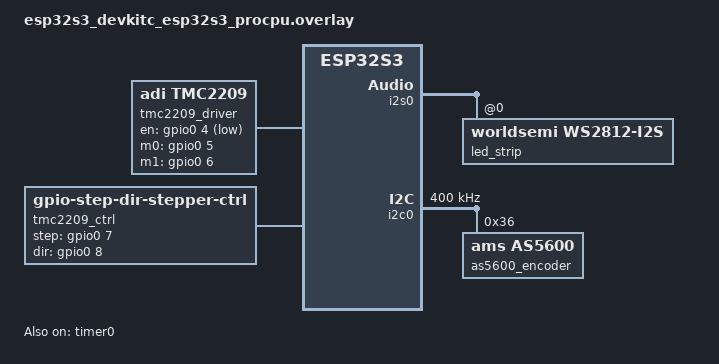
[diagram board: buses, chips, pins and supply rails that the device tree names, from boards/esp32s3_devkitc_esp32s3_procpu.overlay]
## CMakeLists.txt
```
cmake_minimum_required(VERSION 3.20.0)

include(${CMAKE_CURRENT_LIST_DIR}/../../../zenbedded_common/common.cmake)

find_package(Zephyr REQUIRED HINTS $ENV{ZEPHYR_BASE})

project(inverted_pendulum_tier2)
target_sources(app PRIVATE src/main.cpp)
target_compile_definitions(app PRIVATE _GNU_SOURCE _USE_MATH_DEFINES)
```

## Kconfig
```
menu "Inverted Pendulum Tier 2 Demo"

config ENCODER_SAMPLING_THREAD_PRIORITY
    int "Priority for the magnetic encoder's sampling thread"
    default 0

choice INVERTED_PENDULUM_COMM_INTERFACE
    prompt "Communication Transport Interface"
    default INVERTED_PENDULUM_COMM_USB_CDC
    help
      Select the physical transport used to connect the Tier 2
      microcontroller to the Zenoh network / Host PC.

    config INVERTED_PENDULUM_COMM_WIFI
        bool "Wi-Fi Interface"
        select WIFI
        select WIFI_NM
        select WIFI_CREDENTIALS
        select WIFI_CREDENTIALS_CONNECT_STORED
        select NET_L2_WIFI_SHELL
        select WIFI_CREDENTIALS_SHELL
        select NET_DHCPV4
        help
          Connect to the Zenoh network over 802.11 Wi-Fi station mode using
          stored credentials.

    config INVERTED_PENDULUM_COMM_USB_CDC
        bool "USB CDC (Ethernet) Interface"
        select USB_DEVICE_STACK_NEXT
        select NET_L2_ETHERNET
        select USBD_CDC_ECM_CLASS
        help
          Connect to the Zenoh network over USB CDC ECM (Ethernet emulation)
          for low-latency, jitter-free wired communication.

endchoice

config WIFI_ESP32
    default y if INVERTED_PENDULUM_COMM_WIFI && SOC_FAMILY_ESPRESSIF_ESP32

config ESP32_WIFI_STA_AUTO_DHCPV4
    default y if INVERTED_PENDULUM_COMM_WIFI && SOC_FAMILY_ESPRESSIF_ESP32

config ESP32_WIFI_STA_RECONNECT
    default y if INVERTED_PENDULUM_COMM_WIFI && SOC_FAMILY_ESPRESSIF_ESP32

if INVERTED_PENDULUM_COMM_USB_CDC

    config INVERTED_PENDULUM_USB_CDC_STATIC_IP
        bool "Configure static IPv4 address on USB CDC interface"
        default y
        select NET_CONFIG_SETTINGS
        help
          Configure a deterministic static IPv4 address for the USB CDC interface
          so a DHCP server is not required on the host PC.

    config INVERTED_PENDULUM_USB_CDC_MY_IPV4_ADDR
        string "Device USB CDC IPv4 address"
        depends on INVERTED_PENDULUM_USB_CDC_STATIC_IP
        default "192.0.2.2"
        help
          IPv4 address assigned to the ESP32-S3 USB CDC interface.

    config INVERTED_PENDULUM_USB_CDC_PEER_IPV4_ADDR
        string "Host PC USB CDC IPv4 address"
        depends on INVERTED_PENDULUM_USB_CDC_STATIC_IP
        default "192.0.2.1"
        help
          IPv4 address of the host machine on the USB CDC link.

    config INVERTED_PENDULUM_USB_CDC_NETMASK
        string "Device USB CDC IPv4 Netmask"
        depends on INVERTED_PENDULUM_USB_CDC_STATIC_IP
        default "255.255.255.0"
        help
          IPv4 netmask of the USB CDC interface.

    config NET_CONFIG_MY_IPV4_ADDR
        default INVERTED_PENDULUM_USB_CDC_MY_IPV4_ADDR if INVERTED_PENDULUM_USB_CDC_STATIC_IP

    config NET_CONFIG_PEER_IPV4_ADDR
        default INVERTED_PENDULUM_USB_CDC_PEER_IPV4_ADDR if INVERTED_PENDULUM_USB_CDC_STATIC_IP

    config NET_CONFIG_MY_IPV4_NETMASK
        default INVERTED_PENDULUM_USB_CDC_NETMASK if INVERTED_PENDULUM_USB_CDC_STATIC_IP

    config SAMPLE_USBD_PRODUCT
        default "Inverted Pendulum Tier2"

    config SAMPLE_USBD_MANUFACTURER
        default "Open Source Robotics Foundation"

    config INVERTED_PENDULUM_USB_CDC_DHCPV4_SERVER
        bool "Run DHCPv4 server on USB CDC interface"
        default y
        depends on INVERTED_PENDULUM_USB_CDC_STATIC_IP
        select NET_DHCPV4_SERVER
        select NET_UDP
        help
          Runs a lightweight DHCPv4 server leasing the peer IPv4 address to the
          connected host PC, enabling true zero-configuration plug-and-play.

    config NET_DHCPV4_SERVER_ADDR_COUNT
        default 1 if INVERTED_PENDULUM_USB_CDC_DHCPV4_SERVER

    config NET_DHCPV4_SERVER_ICMP_PROBE_TIMEOUT
        default 0 if INVERTED_PENDULUM_USB_CDC_DHCPV4_SERVER

    config NET_DHCPV4_SERVER_OPTION_ROUTER
        default n if INVERTED_PENDULUM_USB_CDC_DHCPV4_SERVER

endif # INVERTED_PENDULUM_COMM_USB_CDC

config ZENBEDDED_ZENOH_LOCATOR
    default "192.0.2.1:7447" if INVERTED_PENDULUM_COMM_USB_CDC
    default "127.0.0.1:7447" if INVERTED_PENDULUM_COMM_WIFI

endmenu

if USB_DEVICE_STACK_NEXT
source "samples/subsys/usb/common/Kconfig.sample_usbd"
endif

source "Kconfig.zephyr"
```

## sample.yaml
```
sample:
  name: Inverted Pendulum Tier2 Demo
common:
  build_only: true
  tags: zenbedded
tests:
  sample.zenbedded.inverted_pendulum_tier2.wifi:
    platform_allow:
      - esp32s3_devkitc/esp32s3/procpu
    extra_args: SNIPPET=wifi
  sample.zenbedded.inverted_pendulum_tier2.usb_cdc:
    platform_allow:
      - esp32s3_devkitc/esp32s3/procpu
    extra_args: SNIPPET=cdc-ecm
  sample.zenbedded.inverted_pendulum_tier2.dual:
    platform_allow:
      - esp32s3_devkitc/esp32s3/procpu
    extra_args: SNIPPET="cdc-ecm;wifi"
```

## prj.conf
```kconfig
CONFIG_CPP=y
CONFIG_STD_CPP17=y
CONFIG_REQUIRES_FULL_LIBC=y

CONFIG_ZENBEDDED_TIER_2=y
CONFIG_ZENBEDDED_RCL=y
CONFIG_ZENBEDDED_RCL_PUB_TOPIC="zenbedded/inverted_pendulum/state"
CONFIG_ZENBEDDED_RCL_SUB_TOPIC="zenbedded/inverted_pendulum/cmd"

CONFIG_ZENBEDDED_QOS_RELIABLE=y
CONFIG_NET_BUF_TX_COUNT=128
CONFIG_LOG=y

CONFIG_STEPPER=y
CONFIG_GPIO=y
CONFIG_I2C=y
CONFIG_SENSOR=y
CONFIG_COUNTER=y
CONFIG_LED_STRIP=y

CONFIG_SHELL=y
CONFIG_CBPRINTF_FP_SUPPORT=y

CONFIG_ENCODER_SAMPLING_THREAD_PRIORITY=0
CONFIG_MAIN_THREAD_PRIORITY=1
CONFIG_ZENBEDDED_RCL_THREAD_PRIORITY=2

# easily toggle between USB CDC and Wi-Fi
CONFIG_INVERTED_PENDULUM_COMM_USB_CDC=y
# CONFIG_INVERTED_PENDULUM_COMM_WIFI=y
# CONFIG_ZENBEDDED_ZENOH_LOCATOR="127.0.0.1:7447"

# Disable noisy USB subsystem logging
CONFIG_UDC_DRIVER_LOG_LEVEL_OFF=y
CONFIG_USBD_LOG_LEVEL_OFF=y
CONFIG_USBD_CDC_ECM_LOG_LEVEL_OFF=y
```

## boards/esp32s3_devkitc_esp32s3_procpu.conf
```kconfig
CONFIG_SETTINGS=y
CONFIG_NVS=y
CONFIG_FLASH=y
CONFIG_FLASH_MAP=y
CONFIG_HEAP_MEM_POOL_SIZE=65536
CONFIG_NET_BUF_RX_COUNT=32
CONFIG_NET_BUF_TX_COUNT=32
CONFIG_NET_BUF_DATA_SIZE=512
CONFIG_NET_PKT_RX_COUNT=64
CONFIG_NET_PKT_TX_COUNT=64
CONFIG_NET_RX_STACK_SIZE=4096
CONFIG_NET_TX_STACK_SIZE=4096
CONFIG_ESP32_WIFI_STA_RECONNECT=y
CONFIG_ESP32_WIFI_STA_SCAN_ALL=y
CONFIG_NET_SHELL=y
CONFIG_WIFI_LOG_LEVEL_DBG=y
```

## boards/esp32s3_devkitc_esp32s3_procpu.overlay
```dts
#include <zephyr/dt-bindings/gpio/gpio.h>
#include <zephyr/dt-bindings/led/led.h>

/ {
	aliases {
		stepper-driver = &tmc2209_driver;
		stepper-ctrl = &tmc2209_ctrl;
		encoder-driver = &as5600_encoder;
		led-strip = &led_strip;
	};

	// a4988_driver: a4988-stepper-driver {
	// 	compatible = "adi,tmc2209";
	// 	en-gpios = <&gpio0 13 GPIO_ACTIVE_LOW>;
	// 	micro-step-res = <16>;
	// };

	// a4988_ctrl: a4988-stepper-controller {
	// 	compatible = "zephyr,gpio-step-dir-stepper-ctrl";
	// 	step-gpios = <&gpio0 3 GPIO_ACTIVE_HIGH>;
	// 	dir-gpios = <&gpio0 8 GPIO_ACTIVE_HIGH>;
	// 	invert-direction;
	// 	stepper-driver = <&a4988_driver>;
	// 	counter = <&counter0>;
	// };

	// Enable this and replace the alias for drivers like DRVxxx and TMC2209 so you can control microstepping

	tmc2209_driver: tmc2209-stepper-driver {
		compatible = "adi,tmc2209";
		en-gpios = <&gpio0 4 GPIO_ACTIVE_LOW>;
		m0-gpios = <&gpio0 5 GPIO_ACTIVE_HIGH>;
		m1-gpios = <&gpio0 6 GPIO_ACTIVE_HIGH>;
		micro-step-res = <32>;
	};

	tmc2209_ctrl: tmc2209-stepper-controller {
		compatible = "zephyr,gpio-step-dir-stepper-ctrl";
		step-gpios = <&gpio0 7 GPIO_ACTIVE_HIGH>;
		dir-gpios = <&gpio0 8 GPIO_ACTIVE_HIGH>;
		invert-direction;
		stepper-driver = <&tmc2209_driver>;
	    counter = <&counter0>;
	};
};

&i2s0_default {
	group1 {
		pinmux = <I2S0_O_SD_GPIO48>;
	};
};

i2s_led: &i2s0 {
	status = "okay";

	dmas = <&dma 3>;
	dma-names = "tx";

	led_strip: ws2812@0 {
		compatible = "worldsemi,ws2812-i2s";

		reg = <0>;
		chain-length = <1>;
		color-mapping = <LED_COLOR_ID_GREEN
		                 LED_COLOR_ID_RED
		                 LED_COLOR_ID_BLUE>;
		reset-delay = <500>;
	};
};

&dma {
	status = "okay";
};

&pinctrl {
	i2c0_default: i2c0_default {
		group1 {
			pinmux = <I2C0_SDA_GPIO1>, <I2C0_SCL_GPIO2>;
			bias-pull-up;
			drive-open-drain;
			output-high;
		};
	};
};


&i2c0 {
	status = "okay";
	pinctrl-0 = <&i2c0_default>;
	pinctrl-names = "default";
	clock-frequency = <I2C_BITRATE_FAST>;

	as5600_encoder: as5600@36 {
		compatible = "ams,as5600";
		reg = <0x36>;
		status = "okay";
	};
};




&timer0 {
	status = "okay";

	counter0: counter {
		status = "okay";
	};
};
```

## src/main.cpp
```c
// Copyright 2026 Open Source Robotics Foundation, Inc.
//
// Licensed under the Apache License, Version 2.0 (the "License");
// you may not use this file except in compliance with the License.
// You may obtain a copy of the License at
//
//     http://www.apache.org/licenses/LICENSE-2.0
//
// Unless required by applicable law or agreed to in writing, software
// distributed under the License is distributed on an "AS IS" BASIS,
// WITHOUT WARRANTIES OR CONDITIONS OF ANY KIND, either express or implied.
// See the License for the specific language governing permissions and
// limitations under the License.

#include <errno.h>
#include <inttypes.h>
#include <math.h>
#include <time.h>
#include <zenbedded_transport/generated/interface_data.h>
#include <zephyr/device.h>
#include <zephyr/devicetree.h>
#include <zephyr/drivers/led_strip.h>
#include <zephyr/drivers/sensor.h>
#include <zephyr/drivers/stepper/stepper.h>
#include <zephyr/drivers/stepper/stepper_ctrl.h>
#include <zephyr/kernel.h>
#include <zephyr/logging/log.h>
#include <zephyr/net/net_if.h>
#include <zephyr/net/sntp.h>
#include <algorithm>
#include <cmath>
#include <cstdlib>
#include <cstring>
#include <zenbedded_common/network.hpp>
#include <zenbedded_rcl/codecs.hpp>
#include <zenbedded_rcl/zenbedded_client.hpp>

LOG_MODULE_REGISTER(inverted_pendulum_tier2, LOG_LEVEL_INF);

using InvertedPendulumClient =
  ZenbeddedClient<RawCodec<zenbedded_state_t>, RawCodec<zenbedded_command_t>>;

constexpr uint32_t kControlPeriodMs = 10;
constexpr double kControlPeriodSec = kControlPeriodMs / 1000.0;
constexpr uint32_t kCommandTimeoutMs = 200;
constexpr uint32_t kCommandTimeoutCycles = kCommandTimeoutMs / kControlPeriodMs;
constexpr uint32_t kLoopFreqHz = 100;

// Fast encoder sampling params
constexpr double kEncoderSampleHz = 400.0;
constexpr uint32_t kEncoderSamplePeriodUs = static_cast<uint32_t>(1.0e6 / kEncoderSampleHz);
constexpr double kVelocityFilterAlpha = 0.35;
constexpr double kVelocityFilterTauSec =
  (1.0 - kVelocityFilterAlpha) / (kVelocityFilterAlpha * kEncoderSampleHz);

constexpr double kMoveToProjectionPeriods = 2.0;

BUILD_ASSERT(
  DT_NODE_HAS_PROP(DT_ALIAS(stepper_driver), micro_step_res),
  "stepper_driver needs micro-step-res: without it the published angles are off by that factor");

constexpr uint32_t motor_steps_per_rev = 200;
constexpr uint32_t micro_step_res = DT_PROP_OR(DT_ALIAS(stepper_driver), micro_step_res, 1);
constexpr int32_t micro_steps_per_rev = static_cast<int32_t>(motor_steps_per_rev * micro_step_res);

const device * stepper_driver = DEVICE_DT_GET(DT_ALIAS(stepper_driver));
const device * stepper_ctrl = DEVICE_DT_GET(DT_ALIAS(stepper_ctrl));
const device * encoder_driver = DEVICE_DT_GET(DT_ALIAS(encoder_driver));

// LED Setup
#define STRIP_NUM_PIXELS DT_PROP_OR(DT_ALIAS(led_strip), chain_length, 1)
#define RGB(_r, _g, _b) \
  led_rgb { .r = (_r), .g = (_g), .b = (_b) }
const device * led = DEVICE_DT_GET(DT_ALIAS(led_strip));
static led_rgb pixels[STRIP_NUM_PIXELS];
bool led_ready = false;

// Hard travel limit on the stepper position, measured from the boot-time zero.
constexpr double kStepperAngleLimitRad = 135.0 * M_PI / 180.0;
int32_t stepper_min_position = 0;
int32_t stepper_max_position = 0;

constexpr double kMaxAngularVelocity = 7.0;          // rad/s
constexpr uint64_t kMinMicrostepIntervalNs = 60000;  // stepper limit
constexpr uint64_t kMaxMicrostepIntervalNs = 1000000000;
constexpr uint64_t kStepIntervalForMaxVelNs =
  static_cast<uint64_t>(1e9 * 2.0 * M_PI / (kMaxAngularVelocity * micro_steps_per_rev));

double microsteps_to_angle(int32_t microsteps)
{
  return 2.0 * M_PI * microsteps / micro_steps_per_rev;
}

// maps angle to [-pi, pi]
double wrap_angle(double angle)
{
  if (angle > M_PI)
  {
    angle -= 2.0 * M_PI;
  }
  else if (angle <= -M_PI)
  {
    angle += 2.0 * M_PI;
  }
  return angle;
}

void stop_stepper()
{
  int ret = stepper_ctrl_stop(stepper_ctrl);
  if (ret != 0)
  {
    LOG_ERR("Failed to stop stepper: %d", ret);
  }
}

void set_stepper_angular_vel(double rads_per_sec)
{
  if (!isfinite(rads_per_sec) || rads_per_sec == 0.0)
  {
    stop_stepper();
    return;
  }

  double microsteps_per_sec = fabs(rads_per_sec) * micro_steps_per_rev / (2.0 * M_PI);
  double interval_ns = 1e9 / microsteps_per_sec;

  if (
    !isfinite(interval_ns) || interval_ns < kMinMicrostepIntervalNs ||
    interval_ns > kMaxMicrostepIntervalNs)
  {
    LOG_WRN("Commanded velocity %f rad/s out of range, stopping", rads_per_sec);
    stop_stepper();
    return;
  }

  interval_ns = std::clamp(
    interval_ns, static_cast<double>(kStepIntervalForMaxVelNs),
    static_cast<double>(kMaxMicrostepIntervalNs));

  int ret = stepper_ctrl_set_microstep_interval(stepper_ctrl, static_cast<uint64_t>(interval_ns));
  if (ret != 0)
  {
    LOG_ERR("Failed to set microstep interval: %d", ret);
    return;
  }

  double signed_microsteps_per_sec =
    (rads_per_sec > 0.0) ? microsteps_per_sec : -microsteps_per_sec;
  double projected_microsteps =
    signed_microsteps_per_sec * kControlPeriodSec * kMoveToProjectionPeriods;

  int32_t actual_position = 0;
  stepper_ctrl_get_actual_position(stepper_ctrl, &actual_position);

  double target_position = static_cast<double>(actual_position) + projected_microsteps;
  target_position = std::clamp(
    target_position, static_cast<double>(stepper_min_position),
    static_cast<double>(stepper_max_position));

  ret = stepper_ctrl_move_to(stepper_ctrl, static_cast<int32_t>(lround(target_position)));
  if (ret != 0)
  {
    LOG_ERR("Failed to command stepper move: %d", ret);
  }
}

bool get_encoder_angle_deg(double * angle_rad)
{
  int ret = sensor_sample_fetch(encoder_driver);
  if (ret != 0)
  {
    return false;
  }

  sensor_value val{};
  ret = sensor_channel_get(encoder_driver, SENSOR_CHAN_ROTATION, &val);
  if (ret != 0)
  {
    return false;
  }

  *angle_rad = sensor_value_to_double(&val) * M_PI / 180.0;
  return true;
}

// Enforce the hard stepper travel limit in-place. If the commanded velocity would
// drive the stepper further past +-kStepperAngleLimitRad, it is zeroed.
void enforce_stepper_hard_stop(double stepper_angle, double * stepper_angular_velocity)
{
  if (
    (stepper_angle >= kStepperAngleLimitRad && *stepper_angular_velocity > 0.0) ||
    (stepper_angle <= -kStepperAngleLimitRad && *stepper_angular_velocity < 0.0))
  {
    *stepper_angular_velocity = 0.0;
  }
}

// Fast encoder sampling thread
struct EncoderState
{
  double angle = 0.0;
  double velocity = 0.0;
};

K_SEM_DEFINE(g_pendulum_ready, 0, 1);
K_MSGQ_DEFINE(encoder_state_msgq, sizeof(EncoderState), 1, 1);

void encoder_sample_thread_entry(void *, void *, void *)
{
  double encoder_angle_offset = 0.0;
  while (!get_encoder_angle_deg(&encoder_angle_offset))
  {
    LOG_WRN("Waiting for a valid encoder reading to calibrate the pendulum zero...");
    k_sleep(K_MSEC(1000));
  }

  double prev_encoder_angle = 0.0;
  bool have_prev = false;
  bool signaled_ready = false;
  uint32_t prev_time_us = k_cyc_to_us_floor32(k_cycle_get_32());
  EncoderState encoder_state;
  encoder_state.angle = M_PI;  // upside down

  while (true)
  {
    uint32_t loop_start_us = k_cyc_to_us_floor32(k_cycle_get_32());

    double raw_encoder_angle = 0.0;
    if (get_encoder_angle_deg(&raw_encoder_angle))
    {
      double angle =
        wrap_angle(fmod(raw_encoder_angle - encoder_angle_offset + 3.0 * M_PI, 2.0 * M_PI));

      uint32_t now_us = k_cyc_to_us_floor32(k_cycle_get_32());
      double dt = static_cast<double>(now_us - prev_time_us) / 1.0e6;
      prev_time_us = now_us;

      if (have_prev && dt > 0.0)
      {
        double raw_velocity = wrap_angle(angle - prev_encoder_angle) / dt;
        double alpha = dt / (kVelocityFilterTauSec + dt);

        encoder_state.angle = angle;
        encoder_state.velocity = alpha * raw_velocity + (1.0 - alpha) * encoder_state.velocity;

        if (!signaled_ready)
        {
          signaled_ready = true;
          k_sem_give(&g_pendulum_ready);
        }
      }
      else
      {
        encoder_state.angle = angle;
      }

      while (k_msgq_put(&encoder_state_msgq, &encoder_state, K_NO_WAIT) != 0)
      {
        EncoderState dummy;
        k_msgq_get(&encoder_state_msgq, &dummy, K_NO_WAIT);
      }

      prev_encoder_angle = angle;
      have_prev = true;
    }

    uint32_t elapsed_us = k_cyc_to_us_floor32(k_cycle_get_32()) - loop_start_us;
    k_sleep(
      K_USEC((elapsed_us < kEncoderSamplePeriodUs) ? kEncoderSamplePeriodUs - elapsed_us : 200));
  }
}

K_THREAD_STACK_DEFINE(encoder_sample_thread_stack, 1024);
k_thread encoder_sample_thread;
k_tid_t encoder_sample_thread_tid = k_thread_create(
  &encoder_sample_thread, encoder_sample_thread_stack,
  K_THREAD_STACK_SIZEOF(encoder_sample_thread_stack), encoder_sample_thread_entry, nullptr, nullptr,
  nullptr, CONFIG_ENCODER_SAMPLING_THREAD_PRIORITY, 0, K_FOREVER);

static int extract_host_from_locator(const char * locator, char * out_host, size_t out_len)
{
  if (locator == nullptr || out_host == nullptr || out_len == 0)
  {
    return -EINVAL;
  }
  const char * start = locator;
  const char * slash = strchr(start, '/');
  if (slash != nullptr)
  {
    start = slash + 1;
  }
  const char * colon = strchr(start, ':');
  size_t host_len = (colon != nullptr) ? static_cast<size_t>(colon - start) : strlen(start);
  if (host_len >= out_len)
  {
    return -ENOSPC;
  }
  memcpy(out_host, start, host_len);
  out_host[host_len] = '\0';
  return 0;
}

static bool sync_time_from_ntp(const char * ntp_host)
{
  if (ntp_host == nullptr || ntp_host[0] == '\0')
  {
    LOG_WRN("No NTP host specified, skipping time synchronization");
    return false;
  }

  LOG_INF("Synchronizing time with NTP server '%s'...", ntp_host);
  sntp_time sntp_time;
  int rc = sntp_simple(ntp_host, 5000, &sntp_time);
  if (rc < 0)
  {
    LOG_ERR("NTP sync failed with server '%s': %d", ntp_host, rc);
    return false;
  }

  timespec ts{};
  ts.tv_sec = sntp_time.seconds;
  ts.tv_nsec = ((uint64_t)sntp_time.fraction * 1000000000ULL) >> 32;

  if (clock_settime(CLOCK_REALTIME, &ts) == 0)
  {
    tm timeinfo;
    gmtime_r(&ts.tv_sec, &timeinfo);

    char date_buf[32];
    strftime(date_buf, sizeof(date_buf), "%Y-%m-%d %H:%M:%S UTC", &timeinfo);

    LOG_INF(
      "System time updated: %s (Epoch: %" PRIi64 "s)", date_buf, static_cast<int64_t>(ts.tv_sec));
    return true;
  }

  LOG_ERR("Failed to set CLOCK_REALTIME");
  return false;
}

int main()
{
  // Set LEDs to Blue for the Setup Phase
  if (device_is_ready(led))
  {
    led_ready = true;
    pixels[0] = RGB(0x00, 0x00, 0xFF);
    led_strip_update_rgb(led, pixels, STRIP_NUM_PIXELS);
  }
  else
  {
    LOG_WRN("LED device not ready, running without LED feedback");
  }

  if (!device_is_ready(stepper_driver) || !device_is_ready(stepper_ctrl))
  {
    LOG_ERR("Stepper devices not ready");
    return 0;
  }

  if (!device_is_ready(encoder_driver))
  {
    LOG_ERR("Encoder device not ready");
    return 0;
  }

  LOG_INF("Starting Inverted Pendulum Tier 2");
  if (int net_err = zenbedded::common::init_network(); net_err != 0)
  {
    LOG_ERR("Failed to initialize network interface: %d", net_err);
    return net_err;
  }

  static InvertedPendulumClient client;
  int ret = -1;
  const char * selected_locator = ZENBEDDED_DEFAULT_LOCATOR;
#if defined(CONFIG_ZENBEDDED_COMMON_USB_CDC)
  char usb_loc[32] = {0};
#endif
  uint32_t init_timer = k_uptime_get_32();

  while (k_uptime_get_32() - init_timer < 10000)
  {
#if defined(CONFIG_ZENBEDDED_COMMON_USB_CDC)
    if (zenbedded::common::is_usbd_ready())
    {
      if (
        zenbedded::common::get_usb_peer_locator(
          ZENBEDDED_DEFAULT_LOCATOR, usb_loc, sizeof(usb_loc)) == 0)
      {
        LOG_INF("Attempting Zenoh connection over USB CDC ECM (%s)...", usb_loc);
        ret = client.init(kLoopFreqHz, usb_loc);
        if (ret == 0)
        {
          selected_locator = usb_loc;
          break;
        }
        LOG_WRN("Failed to connect via USB CDC ECM (%s): %d", usb_loc, ret);
      }
    }
#endif

#if defined(CONFIG_ZENBEDDED_COMMON_WIFI)
    if (ret != 0 && zenbedded::common::is_wifi_ready())
    {
      LOG_INF("Attempting Zenoh connection over Wi-Fi (%s)...", ZENBEDDED_DEFAULT_LOCATOR);
      ret = client.init(kLoopFreqHz, ZENBEDDED_DEFAULT_LOCATOR);
      if (ret == 0)
      {
        selected_locator = ZENBEDDED_DEFAULT_LOCATOR;
        break;
      }
    }
#endif

    if (ret != 0)
    {
      ret = client.init(kLoopFreqHz, ZENBEDDED_DEFAULT_LOCATOR);
      if (ret == 0)
      {
        selected_locator = ZENBEDDED_DEFAULT_LOCATOR;
        break;
      }
    }

    LOG_WRN("Retrying ZenbeddedClient initialization...");
    k_sleep(K_MSEC(500));
  }

  if (ret != 0)
  {
    LOG_ERR("Failed to initialize ZenbeddedClient: %d", ret);
    return ret;
  }

  // Synchronize system clock with host Chrony NTP server extracted from selected locator
  char ntp_host[64];
  if (extract_host_from_locator(selected_locator, ntp_host, sizeof(ntp_host)) == 0)
  {
    if (!sync_time_from_ntp(ntp_host))
    {
      LOG_WRN("Continuing without NTP sync; state timestamps will use local uptime");
    }
  }

  // Start fast magnetic encoder sampling thread and await calibration
  k_thread_start(encoder_sample_thread_tid);
  LOG_INF("Waiting for the pendulum to calibrate zero...");
  k_sem_take(&g_pendulum_ready, K_FOREVER);
  LOG_INF("Pendulum zero calibrated successfully!");

  ret = stepper_enable(stepper_driver);
  if (ret != 0)
  {
    LOG_ERR("Failed to enable stepper: %d", ret);
    return ret;
  }

  int32_t stepper_position = 0;
  double stepper_angle = 0.0;
  double stepper_angle_offset = 0.0;
  double stepper_angular_velocity = 0.0;

  // Zero reference for stepper at boot
  ret = stepper_ctrl_get_actual_position(stepper_ctrl, &stepper_position);
  if (ret != 0)
  {
    LOG_ERR("Failed to read initial stepper position: %d", ret);
    return ret;
  }
  stepper_angle_offset = microsteps_to_angle(stepper_position);

  int32_t stepper_limit_microsteps =
    static_cast<int32_t>(lround(kStepperAngleLimitRad / (2.0 * M_PI) * micro_steps_per_rev));
  stepper_min_position = stepper_position - stepper_limit_microsteps;
  stepper_max_position = stepper_position + stepper_limit_microsteps;

  uint32_t last_command_count = client.accepted_command_count();
  uint32_t cycles_since_command = 0;
  uint32_t print_count = 0;
  double commanded_acceleration = 0.0;
  double prev_stepper_angle = stepper_angle;
  double loop_freq = 0.0;
  uint32_t last_state_time = k_uptime_get_32();
  EncoderState encoder_state;

  uint32_t led_toggle_counter = 0;
  bool is_flash_on = true;

  while (true)
  {
    uint32_t loop_start_ms = k_uptime_get_32();

    if (stepper_ctrl_get_actual_position(stepper_ctrl, &stepper_position) == 0)
    {
      stepper_angle = microsteps_to_angle(stepper_position) - stepper_angle_offset;
    }

    k_msgq_get(&encoder_state_msgq, &encoder_state, K_FOREVER);

    double dt = static_cast<double>(k_uptime_get_32() - last_state_time) / 1000.0;
    last_state_time = k_uptime_get_32();
    double motor_joint_velocity = (dt > 0.0) ? (stepper_angle - prev_stepper_angle) / dt : 0.0;
    prev_stepper_angle = stepper_angle;

    zenbedded_state_t state_val{
      .motor_joint_position = stepper_angle,
      .motor_joint_velocity = motor_joint_velocity,
      .pendulum_joint_position = encoder_state.angle,
      .pendulum_joint_velocity = encoder_state.velocity,
    };

    if (++print_count == 100)
    {
      print_count = 0;
      printk(
        "stepper_angle=%.4f rad, stepper_vel=%.4f rad/s, "
        "encoder_angle=%.4f rad, encoder_vel=%.4f rad/s, loop_freq=%.2f Hz\n",
        stepper_angle, motor_joint_velocity, encoder_state.angle, encoder_state.velocity,
        loop_freq);
    }

    zenbedded_command_t cmd_val{};

    client.write_state(state_val);

    const uint32_t command_count = client.accepted_command_count();
    if (command_count != last_command_count)
    {
      last_command_count = command_count;
      cycles_since_command = 0;
      if (client.read_command(cmd_val))
      {
        commanded_acceleration = cmd_val.motor_joint_acceleration;
      }
    }
    else if (cycles_since_command < kCommandTimeoutCycles)
    {
      ++cycles_since_command;
    }
    else if (commanded_acceleration != 0.0 || stepper_angular_velocity != 0.0)
    {
      LOG_WRN("No command for %u ms, stopping stepper", kCommandTimeoutMs);
      commanded_acceleration = 0.0;
      stepper_angular_velocity = 0.0;
    }

    // Integrate commanded acceleration into velocity every control cycle
    stepper_angular_velocity += commanded_acceleration * kControlPeriodSec;
    stepper_angular_velocity =
      std::clamp(stepper_angular_velocity, -kMaxAngularVelocity, kMaxAngularVelocity);

    enforce_stepper_hard_stop(stepper_angle, &stepper_angular_velocity);
    set_stepper_angular_vel(stepper_angular_velocity);

    // Flashes Green every 250ms
    if (led_ready && ++led_toggle_counter >= 25)
    {
      led_toggle_counter = 0;
      is_flash_on = !is_flash_on;
      pixels[0] = is_flash_on ? RGB(0x00, 0xFF, 0x00) : RGB(0x00, 0x00, 0x00);
      led_strip_update_rgb(led, pixels, STRIP_NUM_PIXELS);
    }

    // Ensure drift-free kControlPeriodMs loop timing
    uint32_t loop_duration_ms = k_uptime_get_32() - loop_start_ms;
    uint32_t sleep_ms =
      (loop_duration_ms < kControlPeriodMs) ? kControlPeriodMs - loop_duration_ms : 1;
    k_sleep(K_MSEC(sleep_ms));
    loop_freq = 1000.0 / (k_uptime_get_32() - loop_start_ms);
  }

  client.destroy();
  return 0;
}
```
